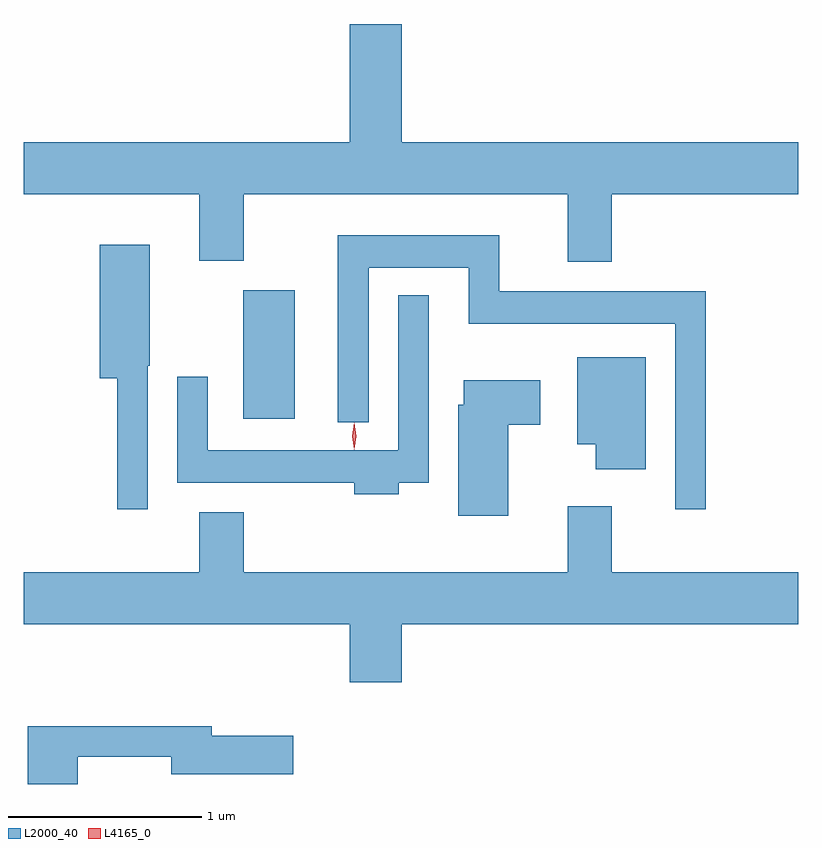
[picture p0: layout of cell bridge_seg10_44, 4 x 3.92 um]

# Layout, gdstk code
import gdstk
lib = gdstk.Library(unit=1e-6, precision=1e-09)
def R(c, l, rs):  # rectangles x0, y0, x1, y1
    for r in rs: c.add(gdstk.rectangle(r[:2], r[2:], *l))
def P(c, l, *ps):  # polygons
    for p in ps: c.add(gdstk.Polygon(p, *l))
L2000_40 = (2000, 40)
L4165_0 = (4165, 0)

bridge_seg10_44 = lib.new_cell('bridge_seg10_44')
R(bridge_seg10_44, L2000_40, [(1593.146,2214.876,1593.414,2215.539)])
P(bridge_seg10_44, L2000_40, [(1595.049,2216.036),(1596.013,2216.036),(1596.013,2216.304),(1593.964,2216.304),(1593.964,2216.914),(1593.696,2216.914),(1593.696,2216.304),(1592.013,2216.304),(1592.013,2216.036),(1592.921,2216.036),(1592.921,2215.691),(1593.149,2215.691),(1593.149,2216.036),(1594.821,2216.036),(1594.821,2215.686),(1595.049,2215.686)],
  [(1595.534,2215.534),(1594.469,2215.534),(1594.469,2215.824),(1593.636,2215.824),(1593.636,2214.858),(1593.794,2214.858),(1593.794,2215.656),(1594.311,2215.656),(1594.311,2215.366),(1595.376,2215.366),(1595.376,2214.408),(1595.534,2214.408)],
  [(1592.654,2215.15),(1592.664,2215.15),(1592.664,2215.774),(1592.406,2215.774),(1592.406,2215.086),(1592.496,2215.086),(1592.496,2214.408),(1592.654,2214.408)],
  [(1593.949,2214.546),(1594.104,2214.546),(1594.104,2215.513),(1593.946,2215.513),(1593.946,2214.714),(1592.964,2214.714),(1592.964,2215.093),(1592.806,2215.093),(1592.806,2214.546),(1593.721,2214.546),(1593.721,2214.486),(1593.949,2214.486)],
  [(1595.224,2215.194),(1594.871,2215.194),(1594.871,2214.746),(1594.966,2214.746),(1594.966,2214.616),(1595.224,2214.616)],
  [(1594.514,2214.846),(1594.679,2214.846),(1594.679,2215.074),(1594.286,2215.074),(1594.286,2214.949),(1594.256,2214.949),(1594.256,2214.376),(1594.514,2214.376)],
  [(1593.964,2213.816),(1596.013,2213.816),(1596.013,2214.084),(1595.049,2214.084),(1595.049,2214.424),(1594.821,2214.424),(1594.821,2214.084),(1593.149,2214.084),(1593.149,2214.394),(1592.921,2214.394),(1592.921,2214.084),(1592.013,2214.084),(1592.013,2213.816),(1593.696,2213.816),(1593.696,2213.516),(1593.964,2213.516)],
  [(1592.294,2213.131),(1592.776,2213.131),(1592.776,2213.041),(1593.404,2213.041),(1593.404,2213.239),(1592.984,2213.239),(1592.984,2213.289),(1592.036,2213.289),(1592.036,2212.991),(1592.294,2212.991)])
P(bridge_seg10_44, L4165_0, [(1593.72,2214.717),(1593.72,2214.718),(1593.71,2214.787),(1593.719,2214.856),(1593.72,2214.856),(1593.72,2214.856),(1593.73,2214.787),(1593.721,2214.718)])

lib.write_gds('bridge_seg10_44.gds')
